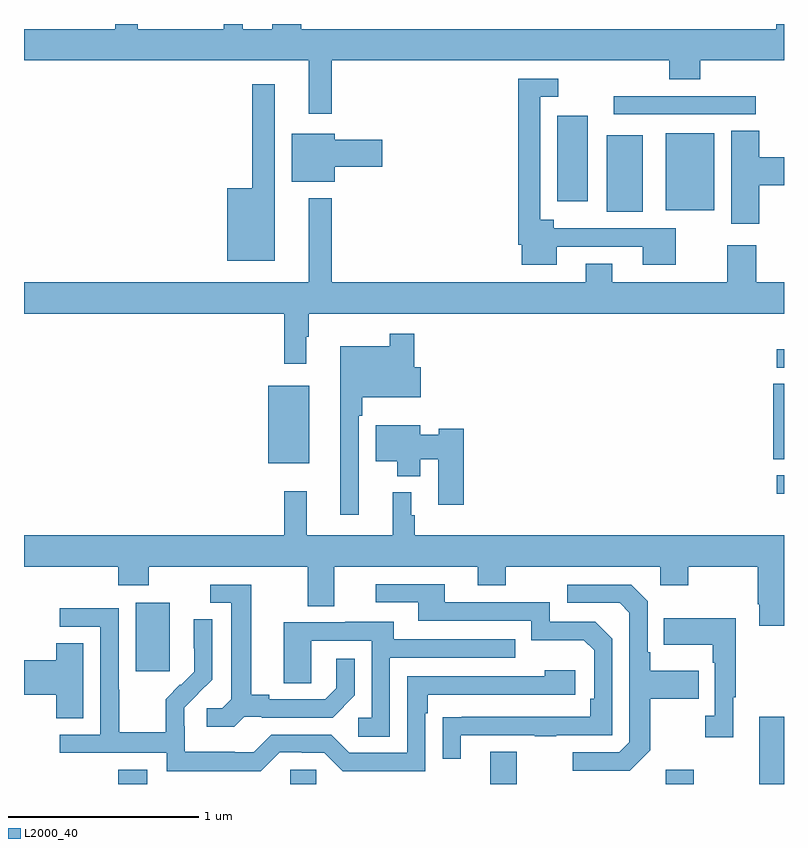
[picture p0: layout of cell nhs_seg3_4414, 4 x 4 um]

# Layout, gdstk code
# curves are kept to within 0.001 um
import gdstk
lib = gdstk.Library(unit=1e-6, precision=1e-09)
def R(c, l, rs):  # rectangles x0, y0, x1, y1
    for r in rs: c.add(gdstk.rectangle(r[:2], r[2:], *l))
def P(c, l, *ps):  # polygons
    for p in ps: c.add(gdstk.Polygon(p, *l))
L2000_40 = (2000, 40)

nhs_seg3_4414 = lib.new_cell('nhs_seg3_4414')
R(nhs_seg3_4414, L2000_40, [(345.497,738.4,345.649,738.475), (346.401,738.4,346.539,738.474), (347.453,738.4,347.593,738.571), (348.377,738.4,348.525,738.475), (348.869,738.4,349,738.754), (345.587,738.993,345.766,739.354), (348.963,739.927,349,740.025), (346.286,740.087,346.501,740.497), (348.944,740.11,349,740.507), (348.963,740.592,349,740.688), (348.068,741.413,348.256,741.814), (348.377,741.419,348.634,741.826), (347.807,741.468,347.968,741.916), (348.105,741.924,348.85,742.02)])
P(nhs_seg3_4414, L2000_40, [(346.621,742.208),(348.395,742.208),(348.395,742.109),(348.56,742.109),(348.56,742.208),(349,742.208),(349,742.4),(348.959,742.4),(348.959,742.372),(346.46,742.372),(346.46,742.4),(346.307,742.4),(346.307,742.372),(346.15,742.372),(346.15,742.4),(346.052,742.4),(346.052,742.372),(345.599,742.372),(345.599,742.4),(345.481,742.4),(345.481,742.372),(345,742.372),(345,742.208),(346.499,742.208),(346.499,741.927),(346.621,741.927)],
  [(347.803,741.228),(348.257,741.228),(348.257,741.134),(348.43,741.134),(348.43,741.324),(347.788,741.324),(347.788,741.37),(347.718,741.37),(347.718,742.017),(347.812,742.017),(347.812,742.113),(347.602,742.113),(347.602,741.238),(347.621,741.238),(347.621,741.134),(347.803,741.134)],
  [(346.321,742.084),(346.2,742.084),(346.2,741.535),(346.07,741.535),(346.07,741.155),(346.321,741.155)],
  [(348.869,741.551),(349,741.551),(349,741.698),(348.869,741.698),(348.869,741.839),(348.722,741.839),(348.722,741.348),(348.869,741.348)],
  [(346.636,741.65),(346.885,741.65),(346.885,741.792),(346.636,741.792),(346.636,741.823),(346.409,741.823),(346.409,741.569),(346.636,741.569)],
  [(349,741.04),(348.854,741.04),(348.854,741.235),(348.701,741.235),(348.701,741.04),(348.097,741.04),(348.097,741.139),(347.957,741.139),(347.957,741.04),(346.621,741.04),(346.621,741.484),(346.499,741.484),(346.499,741.04),(345,741.04),(345,740.876),(346.369,740.876),(346.369,740.613),(346.486,740.613),(346.486,740.753),(346.498,740.753),(346.498,740.876),(349,740.876)],
  [(346.761,740.339),(346.781,740.339),(346.781,740.435),(347.089,740.435),(347.089,740.593),(347.054,740.593),(347.054,740.77),(346.926,740.77),(346.926,740.704),(346.664,740.704),(346.664,739.818),(346.761,739.818)],
  [(347.315,740.27),(347.184,740.27),(347.184,740.239),(347.086,740.239),(347.086,740.287),(346.85,740.287),(346.85,740.099),(346.964,740.099),(346.964,740.021),(347.086,740.021),(347.086,740.11),(347.18,740.11),(347.18,739.869),(347.315,739.869)],
  [(345,739.544),(345.497,739.544),(345.497,739.445),(345.657,739.445),(345.657,739.544),(346.493,739.544),(346.493,739.336),(346.633,739.336),(346.633,739.544),(347.387,739.544),(347.387,739.445),(347.535,739.445),(347.535,739.544),(348.348,739.544),(348.348,739.445),(348.495,739.445),(348.495,739.544),(348.862,739.544),(348.862,739.345),(348.869,739.345),(348.869,739.233),(349,739.233),(349,739.708),(347.057,739.708),(347.057,739.815),(347.038,739.815),(347.038,739.936),(346.94,739.936),(346.94,739.708),(346.487,739.708),(346.487,739.942),(346.369,739.942),(346.369,739.708),(345,739.708)],
  [(347.299,738.657),(347.689,738.657),(347.689,738.652),(347.801,738.652),(347.801,738.657),(348.096,738.657),(348.096,739.164),(348.006,739.254),(347.766,739.254),(347.766,739.356),(347.215,739.356),(347.215,739.452),(346.851,739.452),(346.851,739.356),(347.075,739.356),(347.075,739.26),(347.67,739.26),(347.67,739.157),(347.947,739.157),(348,739.104),(348,738.85),(347.98,738.85),(347.98,738.753),(347.203,738.752),(347.203,738.534),(347.299,738.534)],
  [(348.295,738.577),(348.295,738.85),(348.551,738.85),(348.551,738.997),(348.295,738.997),(348.295,739.093),(348.282,739.093),(348.282,739.362),(348.195,739.449),(347.859,739.449),(347.859,739.353),(348.135,739.353),(348.186,739.302),(348.186,738.621),(348.132,738.567),(347.889,738.567),(347.889,738.471),(348.189,738.471)],
  [(346.158,738.753),(346.252,738.753),(346.252,738.75),(346.624,738.75),(346.74,738.866),(346.74,739.06),(346.643,739.06),(346.643,738.903),(346.586,738.846),(346.291,738.846),(346.291,738.869),(346.195,738.869),(346.195,739.449),(345.981,739.449),(345.981,739.353),(346.091,739.353),(346.091,738.845),(346.044,738.798),(345.963,738.798),(345.963,738.701),(346.106,738.701)],
  [(346.347,738.567),(346.463,738.567),(346.463,738.564),(346.581,738.564),(346.677,738.468),(347.112,738.468),(347.112,738.773),(347.125,738.773),(347.125,738.87),(347.902,738.87),(347.902,739),(347.741,739),(347.741,738.966),(347.016,738.966),(347.016,738.564),(346.713,738.564),(346.617,738.66),(346.302,738.66),(346.209,738.567),(346.109,738.567),(346.109,738.571),(345.846,738.571),(345.846,738.705),(345.844,738.705),(345.844,738.802),(345.99,738.95),(345.99,739.268),(345.894,739.268),(345.894,739.114),(345.896,739.114),(345.896,738.992),(345.825,738.921),(345.822,738.924),(345.745,738.847),(345.745,738.673),(345.501,738.673),(345.501,738.896),(345.498,738.896),(345.498,739.326),(345.189,739.326),(345.189,739.227),(345.402,739.227),(345.402,738.66),(345.189,738.66),(345.189,738.564),(345.75,738.564),(345.75,738.467),(346.247,738.467)],
  [(348.733,738.857),(348.745,738.857),(348.745,739.273),(348.367,739.273),(348.367,739.133),(348.624,739.133),(348.624,739.037),(348.636,739.037),(348.636,738.758),(348.585,738.758),(348.585,738.645),(348.733,738.645)],
  [(346.926,739.065),(347.585,739.065),(347.585,739.161),(346.945,739.161),(346.945,739.255),(346.691,739.255),(346.691,739.251),(346.367,739.251),(346.367,738.931),(346.512,738.931),(346.512,739.155),(346.83,739.155),(346.83,738.75),(346.758,738.75),(346.758,738.649),(346.926,738.649)],
  [(345.313,739.142),(345.17,739.142),(345.17,739.052),(345,739.052),(345,738.869),(345.17,738.869),(345.17,738.745),(345.313,738.745)])

lib.write_gds('nhs_seg3_4414.gds')
